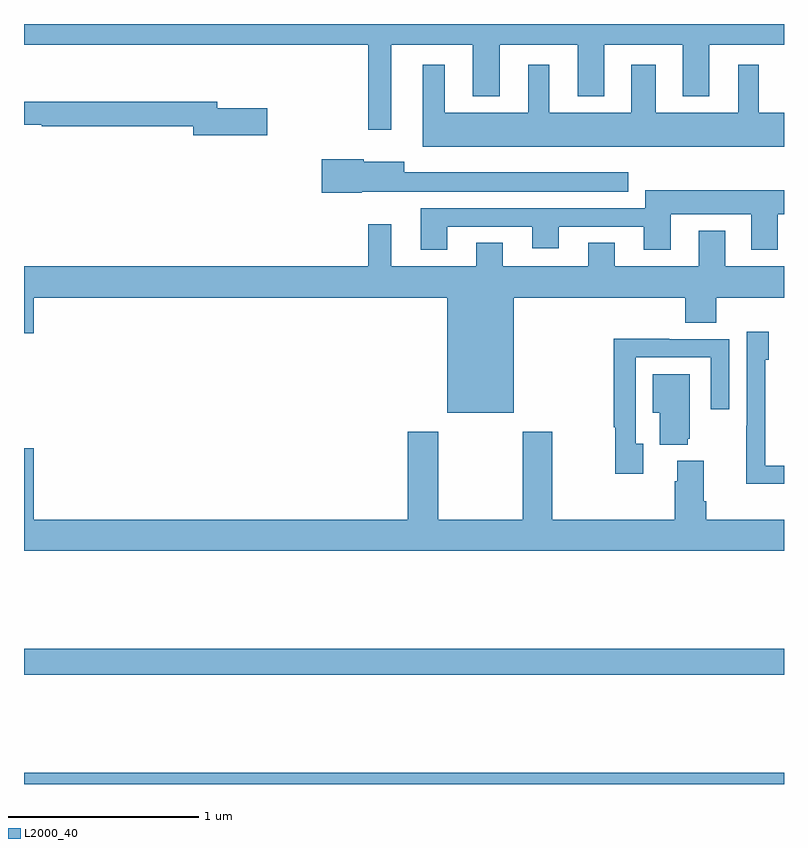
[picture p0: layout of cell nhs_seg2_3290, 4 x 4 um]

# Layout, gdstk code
import gdstk
lib = gdstk.Library(unit=1e-6, precision=1e-09)
def R(c, l, rs):  # rectangles x0, y0, x1, y1
    for r in rs: c.add(gdstk.rectangle(r[:2], r[2:], *l))
def P(c, l, *ps):  # polygons
    for p in ps: c.add(gdstk.Polygon(p, *l))
L2000_40 = (2000, 40)

nhs_seg2_3290 = lib.new_cell('nhs_seg2_3290')
R(nhs_seg2_3290, L2000_40, [(285,587.8,289,587.86), (285,588.376,289,588.512)])
P(nhs_seg2_3290, L2000_40, [(286.933,591.692),(287.363,591.692),(287.363,591.419),(287.503,591.419),(287.503,591.692),(287.915,591.692),(287.915,591.419),(288.055,591.419),(288.055,591.692),(288.467,591.692),(288.467,591.419),(288.607,591.419),(288.607,591.692),(289,591.692),(289,591.8),(285,591.8),(285,591.692),(286.812,591.692),(286.812,591.243),(286.933,591.243)],
  [(289,591.334),(288.868,591.334),(288.868,591.586),(288.758,591.586),(288.758,591.334),(288.325,591.334),(288.325,591.586),(288.197,591.586),(288.197,591.334),(287.764,591.334),(287.764,591.586),(287.654,591.586),(287.654,591.334),(287.215,591.334),(287.215,591.586),(287.099,591.586),(287.099,591.155),(289,591.155)],
  [(286.279,591.357),(286.018,591.357),(286.018,591.391),(285,591.391),(285,591.27),(285.094,591.27),(285.094,591.262),(285.89,591.262),(285.89,591.215),(286.279,591.215)],
  [(286.778,590.918),(288.181,590.918),(288.181,591.019),(287.002,591.019),(287.002,591.076),(286.788,591.076),(286.788,591.089),(286.566,591.089),(286.566,590.911),(286.778,590.911)],
  [(287.227,590.733),(287.675,590.733),(287.675,590.621),(287.815,590.621),(287.815,590.733),(288.263,590.733),(288.263,590.613),(288.403,590.613),(288.403,590.798),(288.827,590.798),(288.827,590.613),(288.967,590.613),(288.967,590.798),(289,590.798),(289,590.926),(288.269,590.926),(288.269,590.829),(287.087,590.829),(287.087,590.613),(287.227,590.613)],
  [(288.109,590.648),(287.969,590.648),(287.969,590.524),(287.521,590.524),(287.521,590.648),(287.381,590.648),(287.381,590.524),(286.933,590.524),(286.933,590.746),(286.812,590.746),(286.812,590.524),(285,590.524),(285,590.172),(285.052,590.172),(285.052,590.36),(287.228,590.36),(287.228,589.754),(287.578,589.754),(287.578,590.36),(288.479,590.36),(288.479,590.227),(288.644,590.227),(288.644,590.36),(289,590.36),(289,590.524),(288.691,590.524),(288.691,590.713),(288.551,590.713),(288.551,590.524),(288.109,590.524)],
  [(289,589.476),(288.9,589.476),(288.9,590.034),(288.919,590.034),(288.919,590.179),(288.804,590.179),(288.804,589.685),(288.802,589.685),(288.802,589.379),(289,589.379)],
  [(288.259,589.59),(288.219,589.59),(288.219,590.046),(288.615,590.046),(288.615,589.773),(288.711,589.773),(288.711,590.142),(288.395,590.142),(288.395,590.144),(288.103,590.144),(288.103,589.678),(288.111,589.678),(288.111,589.434),(288.259,589.434)],
  [(288.494,589.617),(288.505,589.617),(288.505,589.957),(288.308,589.957),(288.308,589.754),(288.347,589.754),(288.347,589.586),(288.494,589.586)],
  [(289,589.192),(288.59,589.192),(288.59,589.288),(288.577,589.288),(288.577,589.501),(288.437,589.501),(288.437,589.394),(288.425,589.394),(288.425,589.192),(287.781,589.192),(287.781,589.654),(287.626,589.654),(287.626,589.192),(287.181,589.192),(287.181,589.654),(287.021,589.654),(287.021,589.192),(285.052,589.192),(285.052,589.567),(285,589.567),(285,589.028),(289,589.028)])

lib.write_gds('nhs_seg2_3290.gds')
